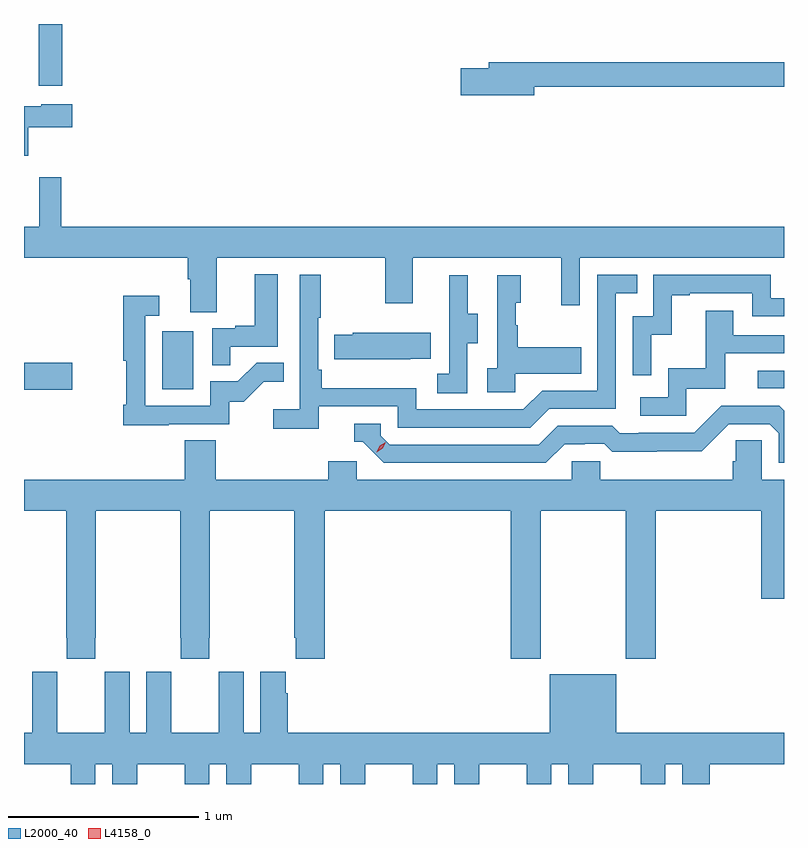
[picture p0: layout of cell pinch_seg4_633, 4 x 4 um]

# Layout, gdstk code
import gdstk
lib = gdstk.Library(unit=1e-6, precision=1e-09)
def R(c, l, rs):  # rectangles x0, y0, x1, y1
    for r in rs: c.add(gdstk.rectangle(r[:2], r[2:], *l))
def P(c, l, *ps):  # polygons
    for p in ps: c.add(gdstk.Polygon(p, *l))
L2000_40 = (2000, 40)
L4158_0 = (4158, 0)

pinch_seg4_633 = lib.new_cell('pinch_seg4_633')
R(pinch_seg4_633, L2000_40, [(1021.512,757.498,1021.765,757.64), (1022.24,757.5,1022.404,757.807), (1025.373,757.506,1025.512,757.599), (1021.589,759.099,1021.712,759.423)])
P(pinch_seg4_633, L2000_40, [(1024.198,759.094),(1025.512,759.094),(1025.512,759.223),(1023.959,759.223),(1023.959,759.189),(1023.81,759.189),(1023.81,759.047),(1024.198,759.047)],
  [(1021.535,758.879),(1021.765,758.879),(1021.765,759.001),(1021.602,759.001),(1021.602,758.989),(1021.512,758.989),(1021.512,758.73),(1021.535,758.73)],
  [(1021.709,758.617),(1021.593,758.617),(1021.593,758.356),(1021.512,758.356),(1021.512,758.192),(1022.375,758.192),(1022.375,758.08),(1022.387,758.08),(1022.387,757.906),(1022.527,757.906),(1022.527,758.192),(1023.412,758.192),(1023.412,757.953),(1023.559,757.953),(1023.559,758.192),(1024.34,758.192),(1024.34,757.944),(1024.437,757.944),(1024.437,758.192),(1025.512,758.192),(1025.512,758.356),(1021.709,758.356)],
  [(1022.597,757.725),(1022.848,757.725),(1022.848,758.107),(1022.726,758.107),(1022.726,757.834),(1022.623,757.834),(1022.623,757.821),(1022.502,757.821),(1022.502,757.627),(1022.597,757.627)],
  [(1023.062,757.41),(1023.48,757.41),(1023.48,757.299),(1024.177,757.299),(1024.276,757.398),(1024.626,757.398),(1024.626,758.007),(1024.739,758.007),(1024.739,758.103),(1024.53,758.103),(1024.53,757.494),(1024.239,757.494),(1024.14,757.395),(1023.576,757.395),(1023.576,757.507),(1023.08,757.507),(1023.08,757.603),(1023.06,757.603),(1023.06,757.876),(1023.073,757.876),(1023.073,758.104),(1022.964,758.104),(1022.964,757.396),(1022.823,757.396),(1022.823,757.294),(1023.062,757.294)],
  [(1024.812,757.787),(1024.922,757.787),(1024.922,757.995),(1025.017,757.995),(1025.017,758.007),(1025.346,758.007),(1025.346,757.884),(1025.512,757.884),(1025.512,757.98),(1025.442,757.98),(1025.442,758.103),(1024.824,758.103),(1024.824,757.884),(1024.716,757.884),(1024.716,757.575),(1024.812,757.575)],
  [(1024.098,757.583),(1024.445,757.583),(1024.445,757.723),(1024.111,757.723),(1024.111,757.838),(1024.101,757.838),(1024.101,757.956),(1024.126,757.956),(1024.126,758.101),(1024.002,758.101),(1024.002,757.61),(1023.951,757.61),(1023.951,757.485),(1024.098,757.485)],
  [(1023.846,757.744),(1023.901,757.744),(1023.901,757.899),(1023.847,757.899),(1023.847,758.101),(1023.749,758.101),(1023.749,757.887),(1023.75,757.887),(1023.75,757.583),(1023.687,757.583),(1023.687,757.48),(1023.846,757.48)],
  [(1022.273,757.317),(1022.592,757.317),(1022.592,757.434),(1022.668,757.434),(1022.775,757.541),(1022.879,757.541),(1022.879,757.64),(1022.736,757.64),(1022.638,757.542),(1022.493,757.542),(1022.493,757.413),(1022.151,757.413),(1022.151,757.887),(1022.224,757.887),(1022.224,757.993),(1022.035,757.993),(1022.035,757.65),(1022.05,757.65),(1022.05,757.42),(1022.035,757.42),(1022.035,757.312),(1022.273,757.312)],
  [(1024.998,757.503),(1025.203,757.503),(1025.203,757.689),(1025.512,757.689),(1025.512,757.785),(1025.245,757.785),(1025.245,757.915),(1025.101,757.915),(1025.101,757.612),(1024.902,757.612),(1024.902,757.458),(1024.755,757.458),(1024.755,757.362),(1024.998,757.362)],
  [(1023.545,757.661),(1023.653,757.661),(1023.653,757.798),(1023.243,757.798),(1023.243,757.788),(1023.145,757.788),(1023.145,757.658),(1023.545,757.658)],
  [(1024.357,757.212),(1024.464,757.212),(1024.464,757.215),(1024.567,757.215),(1024.609,757.173),(1024.842,757.173),(1024.842,757.175),(1025.078,757.175),(1025.22,757.317),(1025.436,757.317),(1025.484,757.269),(1025.484,757.113),(1025.512,757.113),(1025.512,757.388),(1025.487,757.413),(1025.181,757.413),(1025.04,757.272),(1024.747,757.272),(1024.747,757.269),(1024.648,757.269),(1024.609,757.308),(1024.32,757.308),(1024.221,757.209),(1023.438,757.209),(1023.39,757.257),(1023.39,757.32),(1023.251,757.32),(1023.251,757.224),(1023.294,757.224),(1023.405,757.113),(1024.258,757.113)],
  [(1021.887,756.193),(1021.89,756.193),(1021.89,756.86),(1022.335,756.86),(1022.335,756.193),(1022.337,756.193),(1022.337,756.081),(1022.487,756.081),(1022.487,756.193),(1022.49,756.193),(1022.49,756.86),(1022.935,756.86),(1022.935,756.193),(1022.941,756.193),(1022.941,756.081),(1023.095,756.081),(1023.095,756.86),(1024.073,756.86),(1024.073,756.081),(1024.233,756.081),(1024.233,756.86),(1024.678,756.86),(1024.678,756.081),(1024.838,756.081),(1024.838,756.86),(1025.393,756.86),(1025.393,756.399),(1025.512,756.399),(1025.512,757.024),(1025.394,757.024),(1025.394,757.232),(1025.257,757.232),(1025.257,757.122),(1025.243,757.122),(1025.243,757.024),(1024.545,757.024),(1024.545,757.122),(1024.395,757.122),(1024.395,757.024),(1023.264,757.024),(1023.264,757.122),(1023.113,757.122),(1023.113,757.024),(1022.522,757.024),(1022.522,757.232),(1022.357,757.232),(1022.357,757.024),(1021.512,757.024),(1021.512,756.86),(1021.735,756.86),(1021.735,756.193),(1021.737,756.193),(1021.737,756.081),(1021.887,756.081)],
  [(1022.9,755.9),(1022.89,755.9),(1022.89,756.013),(1022.756,756.013),(1022.756,755.692),(1022.668,755.692),(1022.668,756.013),(1022.538,756.013),(1022.538,755.9),(1022.537,755.9),(1022.537,755.692),(1022.287,755.692),(1022.287,755.9),(1022.286,755.9),(1022.286,756.013),(1022.156,756.013),(1022.156,755.692),(1022.068,755.692),(1022.068,756.013),(1021.938,756.013),(1021.938,755.9),(1021.937,755.9),(1021.937,755.692),(1021.687,755.692),(1021.687,755.9),(1021.686,755.9),(1021.686,756.013),(1021.556,756.013),(1021.556,755.692),(1021.512,755.692),(1021.512,755.528),(1021.757,755.528),(1021.757,755.423),(1021.888,755.423),(1021.888,755.528),(1021.976,755.528),(1021.976,755.423),(1022.107,755.423),(1022.107,755.528),(1022.357,755.528),(1022.357,755.423),(1022.488,755.423),(1022.488,755.528),(1022.576,755.528),(1022.576,755.423),(1022.707,755.423),(1022.707,755.528),(1022.957,755.528),(1022.957,755.423),(1023.088,755.423),(1023.088,755.528),(1023.176,755.528),(1023.176,755.423),(1023.307,755.423),(1023.307,755.528),(1023.557,755.528),(1023.557,755.423),(1023.688,755.423),(1023.688,755.528),(1023.776,755.528),(1023.776,755.423),(1023.907,755.423),(1023.907,755.528),(1024.157,755.528),(1024.157,755.423),(1024.288,755.423),(1024.288,755.528),(1024.376,755.528),(1024.376,755.423),(1024.507,755.423),(1024.507,755.528),(1024.757,755.528),(1024.757,755.423),(1024.888,755.423),(1024.888,755.528),(1024.976,755.528),(1024.976,755.423),(1025.12,755.423),(1025.12,755.528),(1025.512,755.528),(1025.512,755.692),(1024.63,755.692),(1024.63,756.001),(1024.28,756.001),(1024.28,755.692),(1022.9,755.692)])
P(pinch_seg4_633, L4158_0, [(1023.368,757.17),(1023.368,757.17),(1023.384,757.203),(1023.415,757.222),(1023.415,757.222),(1023.415,757.222),(1023.399,757.189),(1023.369,757.17)])

lib.write_gds('pinch_seg4_633.gds')
